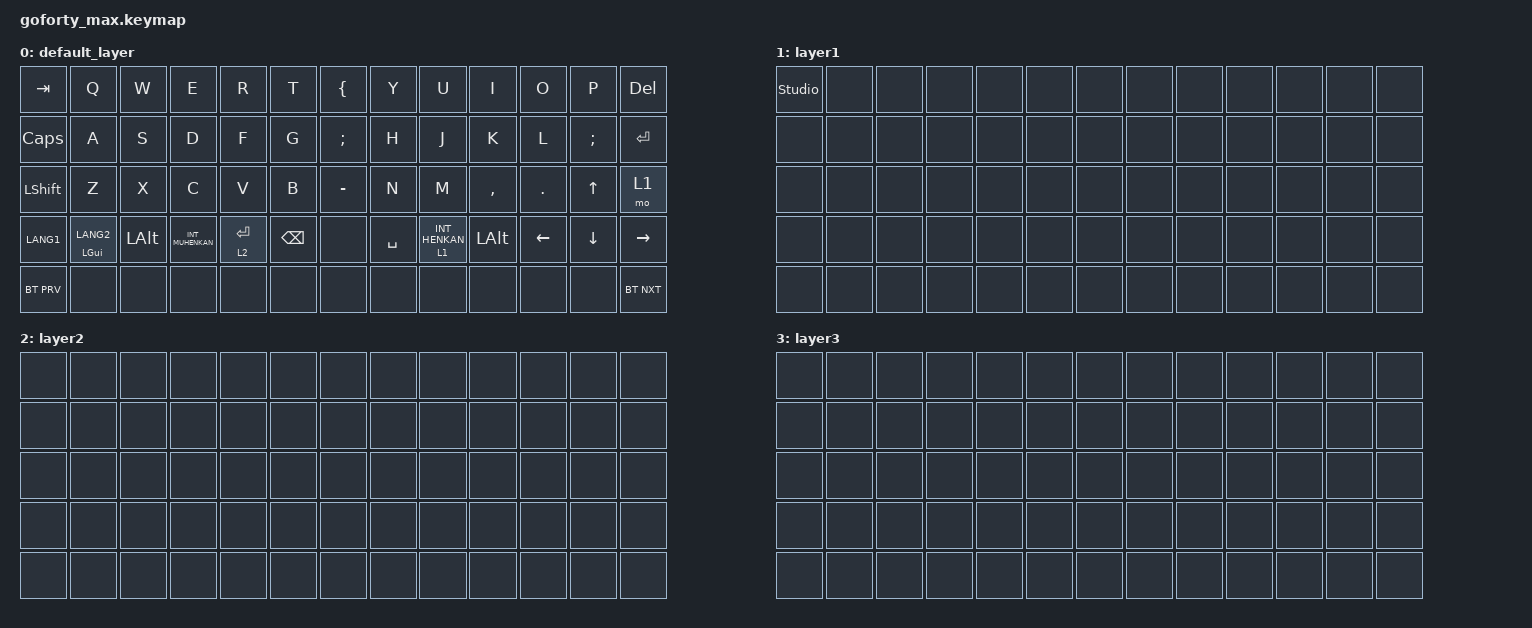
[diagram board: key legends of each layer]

#include <behaviors.dtsi>
#include <dt-bindings/zmk/keys.h>
#include <dt-bindings/zmk/bt.h>
 
/ {
    keymap {
        compatible = "zmk,keymap";
 
        default_layer {
            // Layer 0: o51go の Remap キーマップと同一構成(BTキー2個の追加のみ)
            bindings = <
&kp TAB   &kp Q &kp W &kp E &kp R    &kp T   &kp LBRC  &kp Y &kp U    &kp I   &kp O    &kp P    &kp DEL
&kp CAPS  &kp A &kp S &kp D &kp F    &kp G   &kp SEMI  &kp H &kp J    &kp K   &kp L    &kp SEMI &kp RET
&kp LSHFT &kp Z &kp X &kp C &kp V    &kp B   &kp MINUS &kp N &kp M    &kp COMMA &kp DOT &kp UP   &mo 1
&kp LANG1    &mt LGUI LANG2 &kp LALT      &kp INT_MUHENKAN &lt 2 RET &kp BSPC     &none    &kp SPACE       &lt 1 INT_HENKAN &kp LALT &kp LEFT &kp DOWN &kp RIGHT
&bt BT_PRV   &none  &none  &none          &none           &none    &none          &none    &none           &none    &none    &none     &bt BT_NXT
            >;
        };
 
        layer1 {
            // Layer 1: 空。先頭キーだけ &studio_unlock (ZMK Studioでの編集を許可するため)。
            // それ以外の機能はビルド後にZMK Studioから自由に割り当てる。
            bindings = <
&studio_unlock &none &none &none &none &none &none &none &none &none &none &none &none
&none &none &none &none &none &none &none &none &none &none &none &none &none
&none &none &none &none &none &none &none &none &none &none &none &none &none
&none &none &none &none &none &none &none &none &none &none &none &none &none
&none &none &none &none &none &none &none &none &none &none &none &none &none
            >;
        };
 
        layer2 {
            // Layer 2: 空。ZMK Studioから割り当てる。
            bindings = <
&none &none &none &none &none &none &none &none &none &none &none &none &none
&none &none &none &none &none &none &none &none &none &none &none &none &none
&none &none &none &none &none &none &none &none &none &none &none &none &none
&none &none &none &none &none &none &none &none &none &none &none &none &none
&none &none &none &none &none &none &none &none &none &none &none &none &none
            >;
        };
 
        layer3 {
            // Layer 3: 空。ZMK Studioから割り当てる。
            bindings = <
&none &none &none &none &none &none &none &none &none &none &none &none &none
&none &none &none &none &none &none &none &none &none &none &none &none &none
&none &none &none &none &none &none &none &none &none &none &none &none &none
&none &none &none &none &none &none &none &none &none &none &none &none &none
&none &none &none &none &none &none &none &none &none &none &none &none &none
            >;
        };
    };
};
